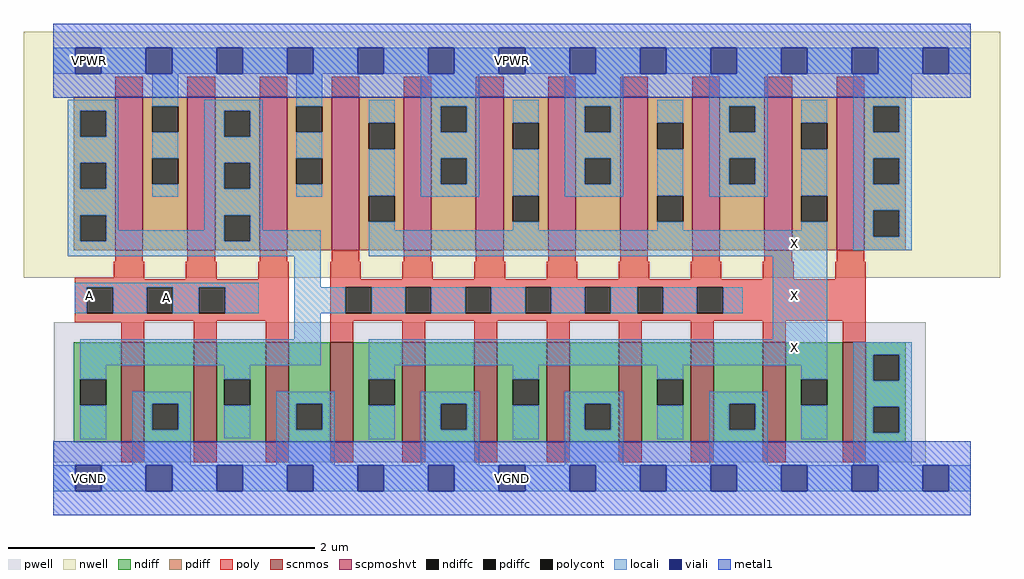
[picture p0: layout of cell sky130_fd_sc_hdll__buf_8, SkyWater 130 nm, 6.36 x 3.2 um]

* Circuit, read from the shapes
.subckt sky130_fd_sc_hdll__buf_8 A VGND VNB VPB VPWR X
XM1 VGND A n1 VNB sky130_fd_pr__nfet_01v8 w=0.65 l=0.15 m=3
XM2 X n1 VGND VNB sky130_fd_pr__nfet_01v8 w=0.65 l=0.15 m=8
XM3 VPWR A n1 VPB sky130_fd_pr__pfet_01v8_hvt w=1 l=0.18 m=3
XM4 X n1 VPWR VPB sky130_fd_pr__pfet_01v8_hvt w=1 l=0.18 m=8
.ends

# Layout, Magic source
magic
tech sky130A
magscale 1 2
<< nwell >>
rect -38 261 1234 582
<< pwell >>
rect 1 21 1137 203
rect 30 -17 64 21
<< scnmos >>
rect 89 47 119 177
rect 183 47 213 177
rect 277 47 307 177
rect 361 47 391 177
rect 455 47 485 177
rect 549 47 579 177
rect 643 47 673 177
rect 737 47 767 177
rect 831 47 861 177
rect 925 47 955 177
rect 1029 47 1059 177
<< scpmoshvt >>
rect 81 297 117 497
rect 175 297 211 497
rect 269 297 305 497
rect 363 297 399 497
rect 457 297 493 497
rect 551 297 587 497
rect 645 297 681 497
rect 739 297 775 497
rect 833 297 869 497
rect 927 297 963 497
rect 1021 297 1057 497
<< ndiff >>
rect 27 129 89 177
rect 27 95 35 129
rect 69 95 89 129
rect 27 47 89 95
rect 119 97 183 177
rect 119 63 129 97
rect 163 63 183 97
rect 119 47 183 63
rect 213 129 277 177
rect 213 95 223 129
rect 257 95 277 129
rect 213 47 277 95
rect 307 97 361 177
rect 307 63 317 97
rect 351 63 361 97
rect 307 47 361 63
rect 391 129 455 177
rect 391 95 411 129
rect 445 95 455 129
rect 391 47 455 95
rect 485 97 549 177
rect 485 63 505 97
rect 539 63 549 97
rect 485 47 549 63
rect 579 129 643 177
rect 579 95 599 129
rect 633 95 643 129
rect 579 47 643 95
rect 673 97 737 177
rect 673 63 693 97
rect 727 63 737 97
rect 673 47 737 63
rect 767 129 831 177
rect 767 95 787 129
rect 821 95 831 129
rect 767 47 831 95
rect 861 97 925 177
rect 861 63 881 97
rect 915 63 925 97
rect 861 47 925 63
rect 955 129 1029 177
rect 955 95 975 129
rect 1009 95 1029 129
rect 955 47 1029 95
rect 1059 161 1111 177
rect 1059 127 1069 161
rect 1103 127 1111 161
rect 1059 93 1111 127
rect 1059 59 1069 93
rect 1103 59 1111 93
rect 1059 47 1111 59
<< pdiff >>
rect 27 479 81 497
rect 27 445 35 479
rect 69 445 81 479
rect 27 411 81 445
rect 27 377 35 411
rect 69 377 81 411
rect 27 343 81 377
rect 27 309 35 343
rect 69 309 81 343
rect 27 297 81 309
rect 117 485 175 497
rect 117 451 129 485
rect 163 451 175 485
rect 117 417 175 451
rect 117 383 129 417
rect 163 383 175 417
rect 117 297 175 383
rect 211 479 269 497
rect 211 445 223 479
rect 257 445 269 479
rect 211 411 269 445
rect 211 377 223 411
rect 257 377 269 411
rect 211 343 269 377
rect 211 309 223 343
rect 257 309 269 343
rect 211 297 269 309
rect 305 485 363 497
rect 305 451 317 485
rect 351 451 363 485
rect 305 417 363 451
rect 305 383 317 417
rect 351 383 363 417
rect 305 297 363 383
rect 399 463 457 497
rect 399 429 411 463
rect 445 429 457 463
rect 399 368 457 429
rect 399 334 411 368
rect 445 334 457 368
rect 399 297 457 334
rect 493 485 551 497
rect 493 451 505 485
rect 539 451 551 485
rect 493 417 551 451
rect 493 383 505 417
rect 539 383 551 417
rect 493 297 551 383
rect 587 463 645 497
rect 587 429 599 463
rect 633 429 645 463
rect 587 368 645 429
rect 587 334 599 368
rect 633 334 645 368
rect 587 297 645 334
rect 681 485 739 497
rect 681 451 693 485
rect 727 451 739 485
rect 681 417 739 451
rect 681 383 693 417
rect 727 383 739 417
rect 681 297 739 383
rect 775 463 833 497
rect 775 429 787 463
rect 821 429 833 463
rect 775 368 833 429
rect 775 334 787 368
rect 821 334 833 368
rect 775 297 833 334
rect 869 485 927 497
rect 869 451 881 485
rect 915 451 927 485
rect 869 417 927 451
rect 869 383 881 417
rect 915 383 927 417
rect 869 297 927 383
rect 963 463 1021 497
rect 963 429 975 463
rect 1009 429 1021 463
rect 963 368 1021 429
rect 963 334 975 368
rect 1009 334 1021 368
rect 963 297 1021 334
rect 1057 485 1111 497
rect 1057 451 1069 485
rect 1103 451 1111 485
rect 1057 417 1111 451
rect 1057 383 1069 417
rect 1103 383 1111 417
rect 1057 349 1111 383
rect 1057 315 1069 349
rect 1103 315 1111 349
rect 1057 297 1111 315
<< ndiffc >>
rect 35 95 69 129
rect 129 63 163 97
rect 223 95 257 129
rect 317 63 351 97
rect 411 95 445 129
rect 505 63 539 97
rect 599 95 633 129
rect 693 63 727 97
rect 787 95 821 129
rect 881 63 915 97
rect 975 95 1009 129
rect 1069 127 1103 161
rect 1069 59 1103 93
<< pdiffc >>
rect 35 445 69 479
rect 35 377 69 411
rect 35 309 69 343
rect 129 451 163 485
rect 129 383 163 417
rect 223 445 257 479
rect 223 377 257 411
rect 223 309 257 343
rect 317 451 351 485
rect 317 383 351 417
rect 411 429 445 463
rect 411 334 445 368
rect 505 451 539 485
rect 505 383 539 417
rect 599 429 633 463
rect 599 334 633 368
rect 693 451 727 485
rect 693 383 727 417
rect 787 429 821 463
rect 787 334 821 368
rect 881 451 915 485
rect 881 383 915 417
rect 975 429 1009 463
rect 975 334 1009 368
rect 1069 451 1103 485
rect 1069 383 1103 417
rect 1069 315 1103 349
<< poly >>
rect 81 497 117 523
rect 175 497 211 523
rect 269 497 305 523
rect 363 497 399 523
rect 457 497 493 523
rect 551 497 587 523
rect 645 497 681 523
rect 739 497 775 523
rect 833 497 869 523
rect 927 497 963 523
rect 1021 497 1057 523
rect 81 282 117 297
rect 175 282 211 297
rect 269 282 305 297
rect 363 282 399 297
rect 457 282 493 297
rect 551 282 587 297
rect 645 282 681 297
rect 739 282 775 297
rect 833 282 869 297
rect 927 282 963 297
rect 1021 282 1057 297
rect 79 261 119 282
rect 28 259 119 261
rect 173 259 213 282
rect 267 259 307 282
rect 28 249 307 259
rect 28 215 44 249
rect 78 215 122 249
rect 156 215 190 249
rect 224 215 307 249
rect 28 205 307 215
rect 28 203 119 205
rect 89 177 119 203
rect 183 177 213 205
rect 277 177 307 205
rect 361 259 401 282
rect 455 259 495 282
rect 549 259 589 282
rect 643 259 683 282
rect 737 259 777 282
rect 831 259 871 282
rect 925 259 965 282
rect 1019 259 1059 282
rect 361 249 1059 259
rect 361 215 381 249
rect 415 215 459 249
rect 493 215 537 249
rect 571 215 615 249
rect 649 215 693 249
rect 727 215 761 249
rect 795 215 839 249
rect 873 215 1059 249
rect 361 205 1059 215
rect 361 177 391 205
rect 455 177 485 205
rect 549 177 579 205
rect 643 177 673 205
rect 737 177 767 205
rect 831 177 861 205
rect 925 177 955 205
rect 1029 177 1059 205
rect 89 21 119 47
rect 183 21 213 47
rect 277 21 307 47
rect 361 21 391 47
rect 455 21 485 47
rect 549 21 579 47
rect 643 21 673 47
rect 737 21 767 47
rect 831 21 861 47
rect 925 21 955 47
rect 1029 21 1059 47
<< polycont >>
rect 44 215 78 249
rect 122 215 156 249
rect 190 215 224 249
rect 381 215 415 249
rect 459 215 493 249
rect 537 215 571 249
rect 615 215 649 249
rect 693 215 727 249
rect 761 215 795 249
rect 839 215 873 249
<< locali >>
rect 0 527 29 561
rect 63 527 121 561
rect 155 527 213 561
rect 247 527 305 561
rect 339 527 397 561
rect 431 527 489 561
rect 523 527 581 561
rect 615 527 673 561
rect 707 527 765 561
rect 799 527 857 561
rect 891 527 949 561
rect 983 527 1041 561
rect 1075 527 1133 561
rect 1167 527 1196 561
rect 19 479 85 493
rect 19 445 35 479
rect 69 445 85 479
rect 19 411 85 445
rect 19 377 35 411
rect 69 377 85 411
rect 19 343 85 377
rect 129 485 163 527
rect 129 417 163 451
rect 129 367 163 383
rect 197 479 273 493
rect 197 445 223 479
rect 257 445 273 479
rect 197 411 273 445
rect 197 377 223 411
rect 257 377 273 411
rect 19 309 35 343
rect 69 323 85 343
rect 197 343 273 377
rect 317 485 351 527
rect 317 417 351 451
rect 317 367 351 383
rect 411 463 445 493
rect 411 368 445 429
rect 197 323 223 343
rect 69 309 223 323
rect 257 323 273 343
rect 479 485 555 527
rect 479 451 505 485
rect 539 451 555 485
rect 479 417 555 451
rect 479 383 505 417
rect 539 383 555 417
rect 479 367 555 383
rect 599 463 633 493
rect 599 368 633 429
rect 411 323 445 334
rect 667 485 743 527
rect 667 451 693 485
rect 727 451 743 485
rect 667 417 743 451
rect 667 383 693 417
rect 727 383 743 417
rect 667 367 743 383
rect 787 463 821 493
rect 787 368 821 429
rect 599 323 633 334
rect 855 485 931 527
rect 855 451 881 485
rect 915 451 931 485
rect 855 417 931 451
rect 855 383 881 417
rect 915 383 931 417
rect 855 367 931 383
rect 975 463 1009 493
rect 975 368 1009 429
rect 787 323 821 334
rect 975 323 1009 334
rect 257 309 349 323
rect 19 289 349 309
rect 411 289 1009 323
rect 1043 485 1119 527
rect 1043 451 1069 485
rect 1103 451 1119 485
rect 1043 417 1119 451
rect 1043 383 1069 417
rect 1103 383 1119 417
rect 1043 349 1119 383
rect 1043 315 1069 349
rect 1103 315 1119 349
rect 1043 297 1119 315
rect 28 249 268 255
rect 28 215 44 249
rect 78 215 122 249
rect 156 215 190 249
rect 224 215 268 249
rect 314 249 349 289
rect 314 215 381 249
rect 415 215 459 249
rect 493 215 537 249
rect 571 215 615 249
rect 649 215 693 249
rect 727 215 761 249
rect 795 215 839 249
rect 873 215 899 249
rect 314 181 349 215
rect 938 181 1009 289
rect 35 147 349 181
rect 411 147 1009 181
rect 35 129 69 147
rect 223 129 257 147
rect 35 51 69 95
rect 103 97 179 113
rect 103 63 129 97
rect 163 63 179 97
rect 103 17 179 63
rect 411 129 445 147
rect 223 52 257 95
rect 291 97 367 113
rect 291 63 317 97
rect 351 63 367 97
rect 291 17 367 63
rect 599 129 633 147
rect 411 51 445 95
rect 479 97 555 113
rect 479 63 505 97
rect 539 63 555 97
rect 479 17 555 63
rect 787 129 821 147
rect 599 51 633 95
rect 667 97 743 113
rect 667 63 693 97
rect 727 63 743 97
rect 667 17 743 63
rect 975 129 1009 147
rect 787 51 821 95
rect 855 97 931 113
rect 855 63 881 97
rect 915 63 931 97
rect 855 17 931 63
rect 975 51 1009 95
rect 1043 161 1119 177
rect 1043 127 1069 161
rect 1103 127 1119 161
rect 1043 93 1119 127
rect 1043 59 1069 93
rect 1103 59 1119 93
rect 1043 17 1119 59
rect 0 -17 29 17
rect 63 -17 121 17
rect 155 -17 213 17
rect 247 -17 305 17
rect 339 -17 397 17
rect 431 -17 489 17
rect 523 -17 581 17
rect 615 -17 673 17
rect 707 -17 765 17
rect 799 -17 857 17
rect 891 -17 949 17
rect 983 -17 1041 17
rect 1075 -17 1133 17
rect 1167 -17 1196 17
<< viali >>
rect 29 527 63 561
rect 121 527 155 561
rect 213 527 247 561
rect 305 527 339 561
rect 397 527 431 561
rect 489 527 523 561
rect 581 527 615 561
rect 673 527 707 561
rect 765 527 799 561
rect 857 527 891 561
rect 949 527 983 561
rect 1041 527 1075 561
rect 1133 527 1167 561
rect 29 -17 63 17
rect 121 -17 155 17
rect 213 -17 247 17
rect 305 -17 339 17
rect 397 -17 431 17
rect 489 -17 523 17
rect 581 -17 615 17
rect 673 -17 707 17
rect 765 -17 799 17
rect 857 -17 891 17
rect 949 -17 983 17
rect 1041 -17 1075 17
rect 1133 -17 1167 17
<< metal1 >>
rect 0 561 1196 592
rect 0 527 29 561
rect 63 527 121 561
rect 155 527 213 561
rect 247 527 305 561
rect 339 527 397 561
rect 431 527 489 561
rect 523 527 581 561
rect 615 527 673 561
rect 707 527 765 561
rect 799 527 857 561
rect 891 527 949 561
rect 983 527 1041 561
rect 1075 527 1133 561
rect 1167 527 1196 561
rect 0 496 1196 527
rect 0 17 1196 48
rect 0 -17 29 17
rect 63 -17 121 17
rect 155 -17 213 17
rect 247 -17 305 17
rect 339 -17 397 17
rect 431 -17 489 17
rect 523 -17 581 17
rect 615 -17 673 17
rect 707 -17 765 17
rect 799 -17 857 17
rect 891 -17 949 17
rect 983 -17 1041 17
rect 1075 -17 1133 17
rect 1167 -17 1196 17
rect 0 -48 1196 -17
<< labels >>
flabel locali s 28 215 268 255 0 FreeSans 200 0 0 0 A
port 1 nsew signal input
flabel locali s 949 153 983 187 0 FreeSans 200 0 0 0 X
port 6 nsew signal output
flabel locali s 949 221 983 255 0 FreeSans 200 0 0 0 X
port 6 nsew signal output
flabel locali s 120 221 154 255 0 FreeSans 200 0 0 0 A
port 1 nsew
flabel locali s 30 -17 64 17 0 FreeSans 200 0 0 0 VGND
port 2 nsew ground bidirectional
flabel locali s 30 527 64 561 0 FreeSans 200 0 0 0 VPWR
port 5 nsew power bidirectional
flabel locali s 949 289 983 323 0 FreeSans 200 0 0 0 X
port 6 nsew signal output
flabel locali s 30 221 64 255 0 FreeSans 200 0 0 0 A
port 1 nsew
flabel nwell s 30 527 64 561 0 FreeSans 200 0 0 0 VPB
port 4 nsew power bidirectional
flabel pwell s 30 -17 64 17 0 FreeSans 200 0 0 0 VNB
port 3 nsew ground bidirectional
flabel metal1 s 30 -17 64 17 0 FreeSans 200 0 0 0 VGND
port 2 nsew ground bidirectional
flabel metal1 s 30 527 64 561 0 FreeSans 200 0 0 0 VPWR
port 5 nsew power bidirectional
rlabel comment s 0 0 0 0 4 buf_8
rlabel metal1 s 0 -48 1196 48 1 VGND
port 2 nsew ground bidirectional
rlabel metal1 s 0 496 1196 592 1 VPWR
port 5 nsew power bidirectional
<< properties >>
string LEFsite unithd
string LEFclass CORE
string FIXED_BBOX 0 0 1196 544
string GDS_FILE $PDKPATH/libs.ref/sky130_fd_sc_hdll/gds/sky130_fd_sc_hdll.gds
string LEFsymmetry X Y R90
string GDS_END 1957900
string GDS_START 1948556
string LEFproperties maskLayoutSubType "abstract" prCellType "standard" originalViewName "layout"
<< end >>
